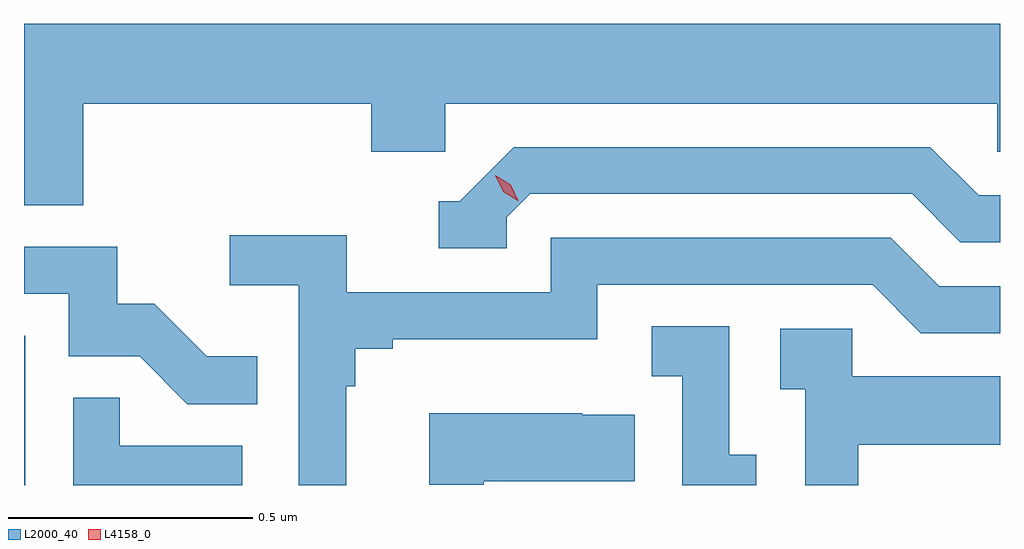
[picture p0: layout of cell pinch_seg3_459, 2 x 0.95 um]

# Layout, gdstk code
import gdstk
lib = gdstk.Library(unit=1e-6, precision=1e-09)
def R(c, l, rs):  # rectangles x0, y0, x1, y1
    for r in rs: c.add(gdstk.rectangle(r[:2], r[2:], *l))
def P(c, l, *ps):  # polygons
    for p in ps: c.add(gdstk.Polygon(p, *l))
L2000_40 = (2000, 40)
L4158_0 = (4158, 0)

pinch_seg3_459 = lib.new_cell('pinch_seg3_459')
R(pinch_seg3_459, L2000_40, [(901.633,673.494,901.636,673.801)])
P(pinch_seg3_459, L2000_40, [(901.754,674.276),(902.345,674.276),(902.345,674.178),(902.496,674.178),(902.496,674.276),(903.627,674.276),(903.627,674.178),(903.633,674.178),(903.633,674.44),(901.633,674.44),(901.633,674.068),(901.754,674.068)],
  [(902.622,674.043),(902.67,674.091),(903.453,674.091),(903.552,673.992),(903.633,673.992),(903.633,674.088),(903.589,674.088),(903.49,674.187),(902.637,674.187),(902.526,674.076),(902.483,674.076),(902.483,673.98),(902.622,673.98)],
  [(902.293,673.697),(902.312,673.697),(902.312,673.774),(902.389,673.774),(902.389,673.793),(902.808,673.793),(902.808,673.905),(903.372,673.905),(903.471,673.806),(903.633,673.806),(903.633,673.902),(903.508,673.902),(903.409,674.001),(902.712,674.001),(902.712,673.89),(902.294,673.89),(902.294,674.006),(902.055,674.006),(902.055,673.904),(902.196,673.904),(902.196,673.494),(902.293,673.494)],
  [(902.111,673.759),(902.007,673.759),(901.9,673.866),(901.824,673.866),(901.824,673.983),(901.633,673.983),(901.633,673.887),(901.725,673.887),(901.725,673.758),(901.87,673.758),(901.968,673.66),(902.111,673.66)],
  [(903.133,673.557),(903.078,673.557),(903.078,673.82),(902.919,673.82),(902.919,673.717),(902.982,673.717),(902.982,673.494),(903.133,673.494)],
  [(903.343,673.577),(903.633,673.577),(903.633,673.717),(903.33,673.717),(903.33,673.815),(903.183,673.815),(903.183,673.691),(903.234,673.691),(903.234,673.494),(903.343,673.494)],
  [(902.08,673.575),(901.829,673.575),(901.829,673.673),(901.734,673.673),(901.734,673.494),(902.08,673.494)],
  [(902.575,673.502),(902.885,673.502),(902.885,673.639),(902.777,673.639),(902.777,673.642),(902.463,673.642),(902.463,673.495),(902.575,673.495)])
P(pinch_seg3_459, L4158_0, [(902.645,674.077),(902.615,674.096),(902.599,674.129),(902.599,674.129),(902.599,674.129),(902.63,674.11),(902.646,674.077),(902.646,674.077)])

lib.write_gds('pinch_seg3_459.gds')
